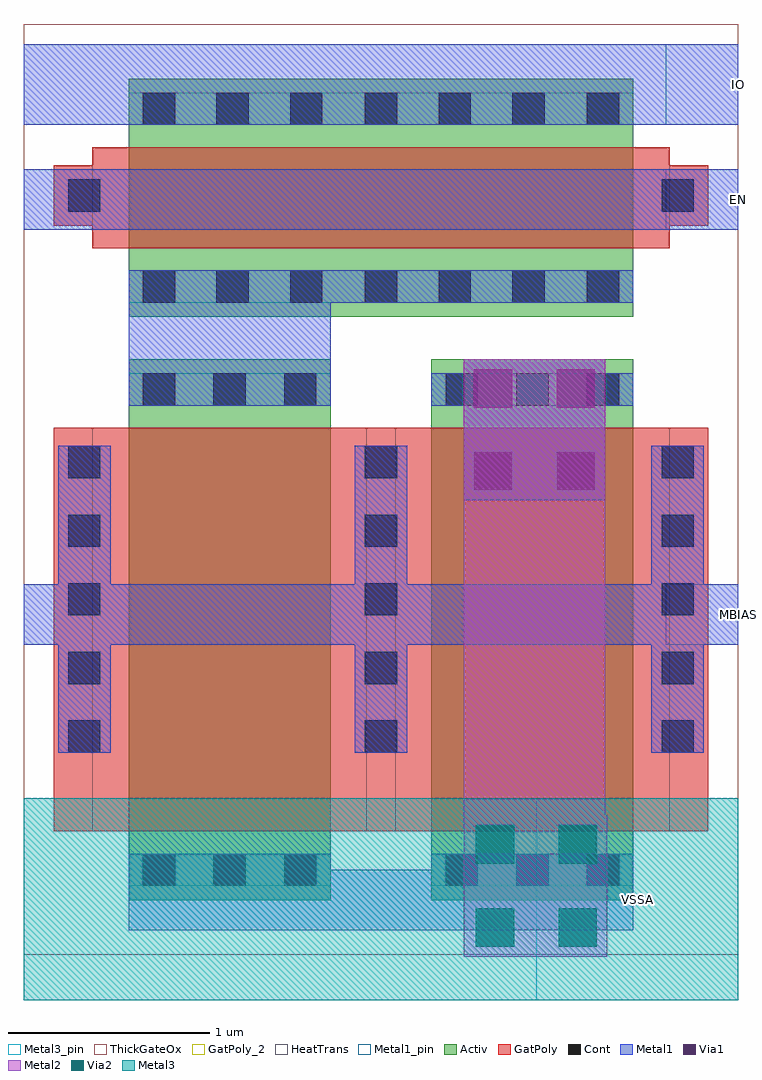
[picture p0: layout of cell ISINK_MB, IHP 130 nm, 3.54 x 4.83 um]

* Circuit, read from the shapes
.subckt ISINK_MB EN IO MBIAS VSSA
XM1 n1 MBIAS n2 VSUBS sg13_hv_nmos w=1u l=2u
XM2 IO EN n1 VSUBS sg13_hv_nmos w=2.5u l=0.5u
XM3 VSSA MBIAS n2 VSUBS sg13_hv_nmos w=1u l=2u
.ends

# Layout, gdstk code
from math import pi, radians
import gdstk
lib = gdstk.Library(unit=1e-6, precision=1e-09)
def R(c, l, rs):  # rectangles x0, y0, x1, y1
    for r in rs: c.add(gdstk.rectangle(r[:2], r[2:], *l))
def A(c, l, x, y, w, h, nx, ny, dx, dy):  # array of equal rectangles
    R(c, l, [(x+i*dx, y+j*dy, x+i*dx+w, y+j*dy+h) for i in range(nx) for j in range(ny)])
Activ = (1, 0)
GatPoly = (5, 0)
GatPoly_2 = (5, 2)
Cont = (6, 0)
Metal1 = (8, 0)
Metal1_pin = (8, 2)
Metal2 = (10, 0)
Via1 = (19, 0)
Via2 = (29, 0)
Metal3 = (30, 0)
Metal3_pin = (30, 2)
ThickGateOx = (44, 0)
HeatTrans = (51, 0)

nmoshv = lib.new_cell('nmosHV')
R(nmoshv, Activ, [(0,0,0.3,0.3), (0,0,1.18,2.5), (0.88,0,1.18,0.3)])
R(nmoshv, GatPoly, [(0.34,-0.18,0.84,2.68)])
R(nmoshv, GatPoly_2, [(0.34,-0.18,0.84,2.68)])
A(nmoshv, Cont, 0.07, 0.07, 0.16, 0.16, 1, 3, 0, 0.365)
A(nmoshv, Cont, 0.95, 0.07, 0.16, 0.16, 1, 3, 0, 0.365)
A(nmoshv, Cont, 0.07, 1.17, 0.16, 0.16, 1, 3, 0, 0.365)
A(nmoshv, Cont, 0.95, 1.17, 0.16, 0.16, 1, 3, 0, 0.365)
R(nmoshv, Cont, [(0.07,2.27,0.23,2.43), (0.95,2.27,1.11,2.43)])
R(nmoshv, Metal1, [(0.07,0,0.23,2.5), (0.95,0,1.11,2.5)])
R(nmoshv, Metal1_pin, [(0.07,0,0.23,2.5), (0.95,0,1.11,2.5)])
R(nmoshv, ThickGateOx, [(-0.27,-0.52,1.45,3.02)])
R(nmoshv, HeatTrans, [(0.34,-0.18,0.84,2.68)])
nmoshv.add(gdstk.Label('nmosHV', (0.59,1.25), layer=63, texttype=0))
nmoshv.add(gdstk.Label('nmosHV', (0.59,1.25), layer=51, texttype=0))

nmoshv_1 = lib.new_cell('nmosHV$1')
R(nmoshv_1, Activ, [(0,0,0.3,0.3), (0,0,2.68,1), (2.38,0,2.68,0.3)])
R(nmoshv_1, GatPoly, [(0.34,-0.18,2.34,1.18)])
R(nmoshv_1, GatPoly_2, [(0.34,-0.18,2.34,1.18)])
A(nmoshv_1, Cont, 0.07, 0.07, 0.16, 0.16, 1, 3, 0, 0.35)
A(nmoshv_1, Cont, 2.45, 0.07, 0.16, 0.16, 1, 3, 0, 0.35)
R(nmoshv_1, Metal1, [(0.07,0,0.23,1), (2.45,0,2.61,1)])
R(nmoshv_1, Metal1_pin, [(0.07,0,0.23,1), (2.45,0,2.61,1)])
R(nmoshv_1, ThickGateOx, [(-0.27,-0.52,2.95,1.52)])
R(nmoshv_1, HeatTrans, [(0.34,-0.18,2.34,1.18)])
nmoshv_1.add(gdstk.Label('nmosHV', (1.34,0.5), layer=63, texttype=0))
nmoshv_1.add(gdstk.Label('nmosHV', (1.34,0.5), layer=51, texttype=0))

viagpcont_m1 = lib.new_cell('ViaGPCont_M1')
R(viagpcont_m1, GatPoly, [(-0.15,-0.15,0.15,0.15), (-0.15,-0.15,0.15,0.15)])
R(viagpcont_m1, Cont, [(-0.08,-0.08,0.08,0.08)])
R(viagpcont_m1, Metal1, [(-0.13,-0.08,0.13,0.08)])

viagpcont_m1_1 = lib.new_cell('ViaGPCont_M1$1')
R(viagpcont_m1_1, GatPoly, [(-0.15,-0.83,0.15,0.83), (-0.15,-0.83,0.15,0.83)])
A(viagpcont_m1_1, Cont, -0.08, -0.76, 0.16, 0.16, 1, 5, 0, 0.34)
R(viagpcont_m1_1, Metal1, [(-0.13,-0.76,0.13,0.76)])

via_stack = lib.new_cell('via_stack')
R(via_stack, Metal2, [(-0.35,-0.35,0.35,0.35)])
R(via_stack, Via2, [(-0.3,-0.3,-0.11,-0.11), (0.11,-0.3,0.3,-0.11), (-0.3,0.11,-0.11,0.3), (0.11,0.11,0.3,0.3)])
R(via_stack, Metal3, [(-0.35,-0.35,0.35,0.35)])

via_stack_1 = lib.new_cell('via_stack$1')
R(via_stack_1, Metal1, [(-0.35,-0.35,0.35,0.35)])
R(via_stack_1, Metal2, [(-0.35,-0.35,0.35,0.35)])
R(via_stack_1, Via1, [(-0.3,-0.3,-0.11,-0.11), (0.11,-0.3,0.3,-0.11), (-0.3,0.11,-0.11,0.3), (0.11,0.11,0.3,0.3)])

isink_mb = lib.new_cell('ISINK_MB')
R(isink_mb, Metal1, [(0.52,3.105,1.52,3.455)])
R(isink_mb, Metal3_pin, [(2.54,0,3.54,1)])
isink_mb.add(gdstk.FlexPath([(0.15,1.835),(3.39,1.835)], 2, ends="flush", simple_path=True, layer=5, datatype=0))  # GatPoly
isink_mb.add(gdstk.FlexPath([(0,1.91),(3.54,1.91)], 0.3, ends="flush", simple_path=True, layer=8, datatype=0))  # Metal1
isink_mb.add(gdstk.FlexPath([(0.52,0.495),(3.02,0.495)], 0.3, ends="flush", simple_path=True, layer=8, datatype=0))  # Metal1
isink_mb.add(gdstk.FlexPath([(0,4.535),(3.54,4.535)], 0.4, ends="flush", simple_path=True, layer=8, datatype=0))  # Metal1
isink_mb.add(gdstk.FlexPath([(0,3.965),(3.54,3.965)], 0.3, ends="flush", simple_path=True, layer=8, datatype=0))  # Metal1
isink_mb.add(gdstk.FlexPath([(3.54,1.91),(3.18,1.91)], 0.3, ends="flush", simple_path=True, layer=8, datatype=2))  # Metal1_pin
isink_mb.add(gdstk.FlexPath([(3.54,4.535),(3.18,4.535)], 0.4, ends="flush", simple_path=True, layer=8, datatype=2))  # Metal1_pin
isink_mb.add(gdstk.FlexPath([(3.54,3.965),(3.18,3.965)], 0.3, ends="flush", simple_path=True, layer=8, datatype=2))  # Metal1_pin
isink_mb.add(gdstk.FlexPath([(2.53,3.175),(2.53,0.215)], 0.7, ends="flush", simple_path=True, layer=10, datatype=0))  # Metal2
isink_mb.add(gdstk.FlexPath([(0,0.5),(3.54,0.5)], 1, ends="flush", simple_path=True, layer=30, datatype=0))  # Metal3
r = gdstk.Reference(nmoshv, (0.52,4.565), rotation=3*pi/2); r.repetition = gdstk.Repetition(1, 1, v1=(0,0), v2=(0,0)); isink_mb.add(r)
r = gdstk.Reference(nmoshv_1, (2.02,3.175), rotation=3*pi/2); r.repetition = gdstk.Repetition(1, 1, v1=(0,0), v2=(0,0)); isink_mb.add(r)
r = gdstk.Reference(nmoshv_1, (0.52,3.175), rotation=3*pi/2); r.repetition = gdstk.Repetition(1, 1, v1=(0,0), v2=(0,0)); isink_mb.add(r)
r = gdstk.Reference(viagpcont_m1, (0.3,3.985), rotation=pi/2); r.repetition = gdstk.Repetition(1, 1, v1=(0,0), v2=(0,0)); isink_mb.add(r)
r = gdstk.Reference(viagpcont_m1_1, (0.3,1.985)); r.repetition = gdstk.Repetition(3, 1, v1=(1.47,0), v2=(0,0)); isink_mb.add(r)
r = gdstk.Reference(via_stack, (2.54,0.565)); r.repetition = gdstk.Repetition(1, 1, v1=(0,0), v2=(0,0)); isink_mb.add(r)
r = gdstk.Reference(via_stack_1, (2.53,2.825)); r.repetition = gdstk.Repetition(1, 1, v1=(0,0), v2=(0,0)); isink_mb.add(r)
r = gdstk.Reference(viagpcont_m1, (3.24,3.985), rotation=pi/2); r.repetition = gdstk.Repetition(1, 1, v1=(0,0), v2=(0,0)); isink_mb.add(r)
isink_mb.add(gdstk.Label('MBIAS', (3.54,1.91), layer=8, texttype=25))
isink_mb.add(gdstk.Label('EN', (3.54,3.965), layer=8, texttype=25))
isink_mb.add(gdstk.Label('IO', (3.54,4.535), layer=8, texttype=25))
isink_mb.add(gdstk.Label('VSSA', (3.04,0.5), layer=30, texttype=25))

lib.write_gds('ISINK_MB.gds')
